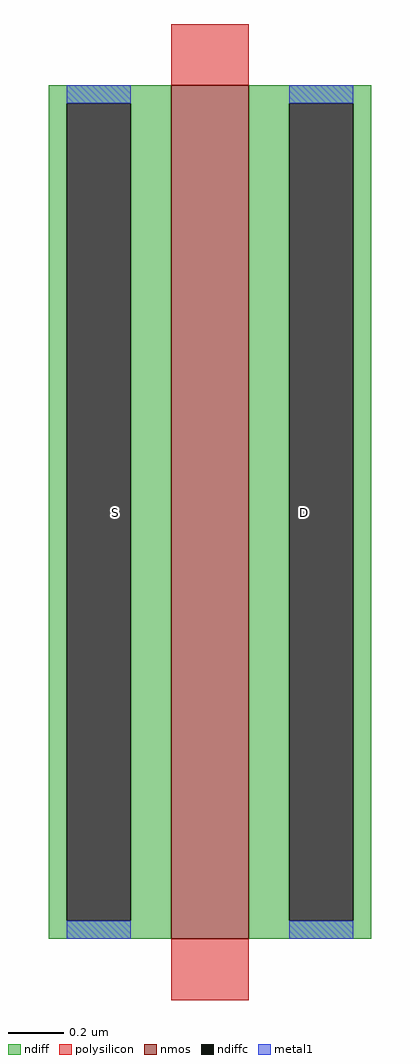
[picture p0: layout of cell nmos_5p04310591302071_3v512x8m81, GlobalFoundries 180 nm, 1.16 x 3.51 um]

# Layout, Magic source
magic
tech gf180mcuD
magscale 1 10
<< nmos >>
rect 0 0 56 614
<< ndiff >>
rect -88 601 0 614
rect -88 13 -75 601
rect -29 13 0 601
rect -88 0 0 13
rect 56 601 144 614
rect 56 13 85 601
rect 131 13 144 601
rect 56 0 144 13
<< ndiffc >>
rect -75 13 -29 601
rect 85 13 131 601
<< polysilicon >>
rect 0 614 56 658
rect 0 -44 56 0
<< metal1 >>
rect -75 601 -29 614
rect -75 0 -29 13
rect 85 601 131 614
rect 85 0 131 13
<< labels >>
flabel ndiffc -40 307 -40 307 0 FreeSans 93 0 0 0 S
flabel ndiffc 96 307 96 307 0 FreeSans 93 0 0 0 D
<< end >>
